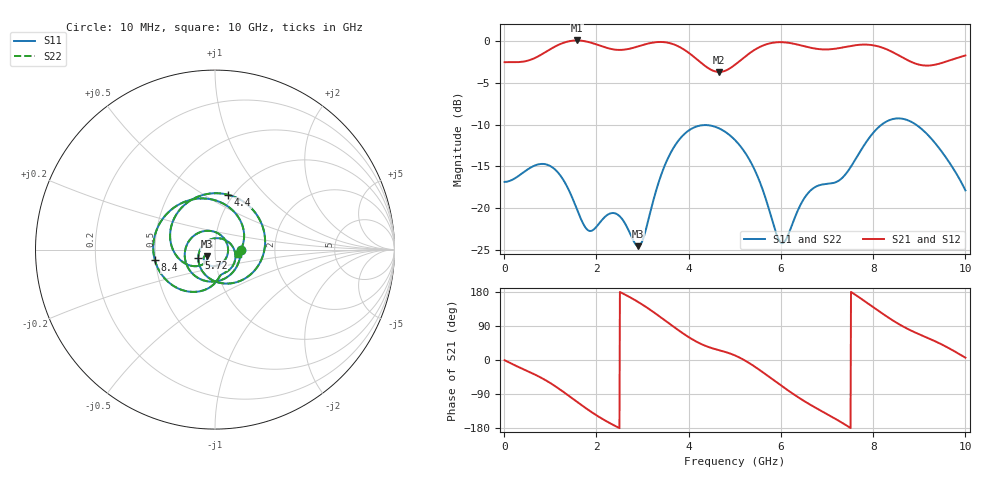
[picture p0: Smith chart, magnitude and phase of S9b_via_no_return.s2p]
! kicad_em_sim: S-parameters of 2 ports, openEMS
# Hz S RI R 50
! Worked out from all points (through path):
!   1000 points, 10 MHz to 10 GHz, reference 50 ohm
!   highest |S21| = 0.08 dB at 1.58 GHz (marker M1); lowest = -3.7 dB at 4.66 GHz (marker M2)
!   group delay of S21, straight-line fit = 201 ps
!   lowest |S11| = -24.5 dB at 2.91 GHz (marker M3), VSWR 1.13, Z = 45.5 - j3.45 ohm
!   |S11| at or under -10 dB: start of sweep to 8.184 GHz; 8.929 GHz to end of sweep
!   |S22| runs from -24.5 to -9.2 dB; largest |S21 - S12| = 1.1e-06
!   S11 on the Smith chart (normalised r, x): 10 MHz: 1.34, -0.01; 4.4 GHz: 0.94, +0.64; 5.72 GHz: 0.83, -0.07; 8.4 GHz: 0.50, -0.06; 10 GHz: 1.29, -0.06
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1e7  0.1436 -0.00332  0.7481 -0.00798  0.7481 -0.00798  0.1436 -0.00332
9.2e8  -0.1391 -0.1183  0.4994 -0.7094  0.4994 -0.7094  -0.1391 -0.1183
1.29e9  -0.1317 0.0645  0.0918 -0.9737  0.0918 -0.9737  -0.1317 0.0645
1.58e9  -0.000657 0.0983  -0.3518 -0.946  -0.3518 -0.946  -0.000657 0.0983
1.68e9  0.0383 0.0752  -0.4913 -0.8772  -0.4913 -0.8772  0.0383 0.0752
2.15e9  0.0278 -0.0822  -0.8516 -0.3619  -0.8516 -0.3619  0.0278 -0.0822
2.91e9  -0.0456 -0.0378  -0.828 0.4255  -0.828 0.4255  -0.0456 -0.0378
3.34e9  -0.1053 -0.0925  -0.4572 0.8758  -0.4572 0.8758  -0.1053 -0.0925
3.62e9  -0.214 -0.0357  -0.0431 0.9667  -0.0431 0.9667  -0.214 -0.0357
3.93e9  -0.2365 0.1528  0.3583 0.8028  0.3583 0.8028  -0.2365 0.1528
4.4e9  0.072 0.3058  0.5661 0.4053  0.5661 0.4053  0.072 0.3058
4.66e9  0.2447 0.1744  0.5883 0.2852  0.5883 0.2852  0.2447 0.1744
5.01e9  0.236 -0.0966  0.7087 0.1471  0.7087 0.1471  0.236 -0.0966
5.41e9  -0.00547 -0.1745  0.8473 -0.2377  0.8473 -0.2377  -0.00547 -0.1745
5.72e9  -0.0931 -0.0444  0.7141 -0.647  0.7141 -0.647  -0.0931 -0.0444
6.16e9  0.0313 0.062  0.1571 -0.9651  0.1571 -0.9651  0.0313 0.062
6.67e9  0.1082 -0.0712  -0.4595 -0.7852  -0.4595 -0.7852  0.1082 -0.0712
7.6e9  -0.00633 -0.1926  -0.9375 0.1108  -0.9375 0.1108  -0.00633 -0.1926
8.34e9  -0.3209 -0.0978  -0.3183 0.8222  -0.3183 0.8222  -0.3209 -0.0978
8.4e9  -0.3353 -0.0575  -0.2451 0.8303  -0.2451 0.8303  -0.3353 -0.0575
9.06e9  -0.0819 0.2849  0.3076 0.648  0.3076 0.648  -0.0819 0.2849
1e10  0.1259 -0.0225  0.8161 0.0871  0.8161 0.0871  0.1259 -0.0225
